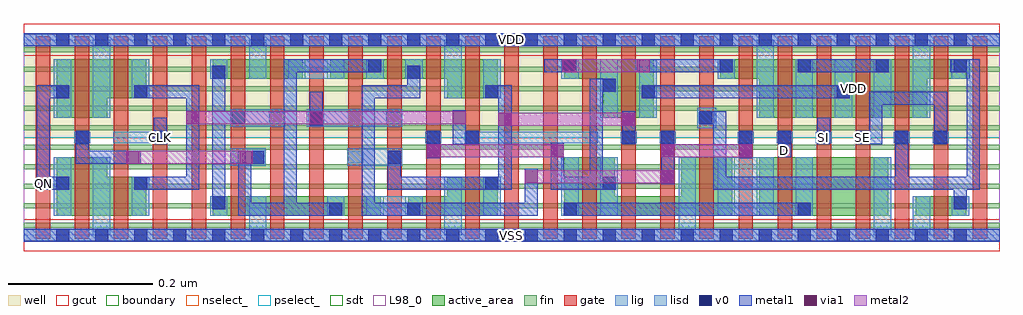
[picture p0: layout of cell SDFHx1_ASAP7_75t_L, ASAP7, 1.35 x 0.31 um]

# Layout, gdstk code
import gdstk
lib = gdstk.Library(unit=1e-6, precision=2.5e-10)
def R(c, l, rs):  # rectangles x0, y0, x1, y1
    for r in rs: c.add(gdstk.rectangle(r[:2], r[2:], *l))
def A(c, l, x, y, w, h, nx, ny, dx, dy):  # array of equal rectangles
    R(c, l, [(x+i*dx, y+j*dy, x+i*dx+w, y+j*dy+h) for i in range(nx) for j in range(ny)])
def P(c, l, *ps):  # polygons
    for p in ps: c.add(gdstk.Polygon(p, *l))
well = (1, 0)
fin = (2, 0)
gate = (7, 0)
gcut = (10, 0)
active_area = (11, 0)
nselect_ = (12, 0)
pselect_ = (13, 0)
lig = (16, 0)
lisd = (17, 0)
v0 = (18, 0)
metal1 = (19, 0)
metal2 = (20, 0)
via1 = (21, 0)
sdt = (88, 0)
L98_0 = (98, 0)
boundary = (100, 0)

sdfhx1_asap7_75t_l = lib.new_cell('SDFHx1_ASAP7_75t_L')
R(sdfhx1_asap7_75t_l, well, [(0,0.135,1.35,0.27)])
A(sdfhx1_asap7_75t_l, fin, 0, 0.01, 1.35, 0.007, 1, 10, 0, 0.027)
A(sdfhx1_asap7_75t_l, gate, 0.017, -0.005, 0.02, 0.28, 25, 1, 0.054, 0)
R(sdfhx1_asap7_75t_l, gcut, [(0,-0.022,1.35,0.022), (0,0.248,1.35,0.292)])
R(sdfhx1_asap7_75t_l, active_area, [(0.262,0.027,0.494,0.054), (1.018,0.027,1.196,0.108), (1.234,0.027,1.304,0.054), (0.262,0.216,0.386,0.243)])
P(sdfhx1_asap7_75t_l, active_area, [(0.656,0.081),(0.586,0.081),(0.586,0.054),(0.532,0.054),(0.532,0.027),(0.656,0.027)],
  [(0.17,0.081),(0.116,0.081),(0.116,0.108),(0.046,0.108),(0.046,0.027),(0.17,0.027)],
  [(0.818,0.108),(0.748,0.108),(0.748,0.027),(0.98,0.027),(0.98,0.108),(0.91,0.108),(0.91,0.054),(0.818,0.054)],
  [(0.424,0.216),(0.586,0.216),(0.586,0.189),(0.656,0.189),(0.656,0.243),(0.424,0.243)],
  [(0.748,0.216),(0.802,0.216),(0.802,0.162),(0.872,0.162),(0.872,0.243),(0.748,0.243)],
  [(0.964,0.216),(1.018,0.216),(1.018,0.162),(1.25,0.162),(1.25,0.216),(1.304,0.216),(1.304,0.243),(0.964,0.243)],
  [(0.046,0.162),(0.116,0.162),(0.116,0.189),(0.17,0.189),(0.17,0.243),(0.046,0.243)])
R(sdfhx1_asap7_75t_l, nselect_, [(0,0,1.35,0.135)])
R(sdfhx1_asap7_75t_l, pselect_, [(0,0.135,1.35,0.27)])
A(sdfhx1_asap7_75t_l, lig, 0.988, 0.127, 0.022, 0.016, 6, 1, 0.054, 0)
R(sdfhx1_asap7_75t_l, lig, [(0,-0.008,1.35,0.008), (0.286,0.1,0.308,0.116), (0.448,0.1,0.47,0.116), (0.07,0.127,0.092,0.143), (0.124,0.127,0.2,0.143), (0.556,0.127,0.578,0.143), (0.61,0.127,0.794,0.143), (0.826,0.127,0.848,0.143), (0.88,0.127,0.902,0.143), (0.34,0.154,0.362,0.17), (0.394,0.154,0.416,0.17), (0.502,0.154,0.524,0.17), (0.934,0.154,0.956,0.17), (0,0.262,1.35,0.278)])
A(sdfhx1_asap7_75t_l, lisd, 1.068, 0.162, 0.024, 0.081, 3, 1, 0.054, 0)
A(sdfhx1_asap7_75t_l, lisd, 0.528, 0.216, 0.024, 0.027, 3, 1, 0.216, 0)
R(sdfhx1_asap7_75t_l, lisd, [(0.096,0,0.12,0.108), (0.312,0,0.336,0.054), (0.582,0,0.606,0.081), (0.906,0,0.93,0.108), (1.176,0,1.2,0.108), (1.23,0,1.254,0.054), (0.042,0.027,0.066,0.108), (0.15,0.027,0.174,0.081), (0.258,0.027,0.282,0.054), (0.42,0.027,0.444,0.054), (0.474,0.027,0.552,0.054), (0.636,0.027,0.66,0.081), (0.744,0.027,0.768,0.108), (0.798,0.027,0.822,0.108), (0.96,0.027,1.038,0.108), (1.068,0.027,1.092,0.108), (1.284,0.027,1.308,0.054), (0.286,0.096,0.335,0.12), (0.448,0.096,0.524,0.12), (0.932,0.148,0.958,0.176), (0.286,0.15,0.362,0.174), (0.392,0.15,0.524,0.174), (0.042,0.162,0.066,0.243), (0.096,0.162,0.12,0.27), (0.798,0.162,0.822,0.243), (0.852,0.162,0.876,0.243), (1.014,0.162,1.038,0.27), (1.23,0.162,1.254,0.27), (0.15,0.189,0.174,0.243), (0.582,0.189,0.606,0.27), (0.636,0.189,0.66,0.243), (0.258,0.216,0.282,0.243), (0.312,0.216,0.336,0.27), (0.366,0.216,0.444,0.243), (0.474,0.216,0.498,0.243), (1.283,0.216,1.309,0.243)])
A(sdfhx1_asap7_75t_l, v0, 0.045, -0.009, 0.018, 0.018, 24, 2, 0.054, 0.27)
A(sdfhx1_asap7_75t_l, v0, 0.99, 0.126, 0.018, 0.018, 6, 1, 0.054, 0)
A(sdfhx1_asap7_75t_l, v0, 0.963, 0.225, 0.018, 0.018, 4, 1, 0.108, 0)
R(sdfhx1_asap7_75t_l, v0, [(0.423,0.027,0.441,0.045), (0.531,0.027,0.549,0.045), (0.747,0.027,0.765,0.045), (1.071,0.027,1.089,0.045), (0.261,0.036,0.279,0.054), (1.287,0.036,1.305,0.054), (0.045,0.063,0.063,0.081), (0.153,0.063,0.171,0.081), (0.639,0.063,0.657,0.081), (0.801,0.063,0.819,0.081), (0.315,0.099,0.333,0.117), (0.504,0.099,0.522,0.117), (0.072,0.126,0.09,0.144), (0.18,0.126,0.198,0.144), (0.558,0.126,0.576,0.144), (0.612,0.126,0.63,0.144), (0.828,0.126,0.846,0.144), (0.882,0.126,0.9,0.144), (0.396,0.151,0.414,0.169), (0.288,0.153,0.306,0.171), (0.935,0.153,0.953,0.171), (0.045,0.189,0.063,0.207), (0.153,0.189,0.171,0.207), (0.639,0.189,0.657,0.207), (0.855,0.189,0.873,0.207), (1.125,0.189,1.143,0.207), (0.801,0.198,0.819,0.216), (0.261,0.216,0.279,0.234), (0.531,0.216,0.549,0.234), (0.477,0.225,0.495,0.243), (0.747,0.225,0.765,0.243)])
R(sdfhx1_asap7_75t_l, metal1, [(0,-0.009,1.35,0.009), (0.747,0.027,1.089,0.045), (0.882,0.07,0.9,0.144), (0.558,0.106,0.576,0.144), (0.99,0.106,1.008,0.144), (1.044,0.108,1.062,0.144), (0.18,0.126,0.198,0.162), (0.828,0.126,0.846,0.171), (1.098,0.126,1.116,0.162), (0.396,0.151,0.414,0.198), (0.855,0.189,1.143,0.207), (0.72,0.225,0.765,0.243), (0.846,0.225,0.981,0.243), (1.071,0.225,1.197,0.243), (0,0.261,1.35,0.279)])
P(sdfhx1_asap7_75t_l, metal1, [(0.162,0.117),(0.09,0.117),(0.09,0.144),(0.072,0.144),(0.072,0.099),(0.162,0.099)],
  [(0.63,0.144),(0.612,0.144),(0.612,0.173),(0.594,0.173),(0.594,0.126),(0.63,0.126)],
  [(1.188,0.18),(1.26,0.18),(1.26,0.126),(1.278,0.126),(1.278,0.198),(1.17,0.198),(1.17,0.144),(1.152,0.144),(1.152,0.126),(1.188,0.126)],
  [(0.675,0.207),(0.639,0.207),(0.639,0.189),(0.657,0.189),(0.657,0.081),(0.522,0.081),(0.522,0.117),(0.504,0.117),(0.504,0.063),(0.675,0.063)],
  [(0.063,0.081),(0.036,0.081),(0.036,0.189),(0.063,0.189),(0.063,0.207),(0.018,0.207),(0.018,0.063),(0.063,0.063)],
  [(0.243,0.207),(0.153,0.207),(0.153,0.189),(0.225,0.189),(0.225,0.081),(0.153,0.081),(0.153,0.063),(0.243,0.063)],
  [(0.441,0.045),(0.378,0.045),(0.378,0.225),(0.495,0.225),(0.495,0.243),(0.36,0.243),(0.36,0.045),(0.315,0.045),(0.315,0.099),(0.333,0.099),(0.333,0.117),(0.297,0.117),(0.297,0.027),(0.441,0.027)],
  [(0.819,0.081),(0.801,0.081),(0.801,0.198),(0.819,0.198),(0.819,0.216),(0.783,0.216),(0.783,0.081),(0.747,0.081),(0.747,0.128),(0.729,0.128),(0.729,0.063),(0.819,0.063)],
  [(0.279,0.153),(0.306,0.153),(0.306,0.171),(0.279,0.171),(0.279,0.234),(0.261,0.234),(0.261,0.036),(0.279,0.036)],
  [(1.282,0.243),(1.282,0.225),(1.305,0.225),(1.305,0.081),(1.224,0.081),(1.224,0.144),(1.206,0.144),(1.206,0.081),(0.972,0.081),(0.972,0.171),(0.935,0.171),(0.935,0.153),(0.954,0.153),(0.954,0.063),(1.287,0.063),(1.287,0.036),(1.305,0.036),(1.305,0.063),(1.323,0.063),(1.323,0.243)],
  [(0.711,0.092),(0.693,0.092),(0.693,0.045),(0.486,0.045),(0.486,0.189),(0.549,0.189),(0.549,0.234),(0.531,0.234),(0.531,0.207),(0.468,0.207),(0.468,0.027),(0.711,0.027)])
R(sdfhx1_asap7_75t_l, metal2, [(0.693,0.072,0.9,0.09), (0.142,0.099,0.317,0.117), (0.558,0.108,0.747,0.126), (0.882,0.108,1.008,0.126), (0.657,0.151,0.846,0.169), (0.225,0.153,0.612,0.171), (0.745,0.225,0.866,0.243)])
R(sdfhx1_asap7_75t_l, via1, [(0.693,0.072,0.711,0.09), (0.882,0.072,0.9,0.09), (0.142,0.099,0.16,0.117), (0.299,0.099,0.317,0.117), (0.558,0.108,0.576,0.126), (0.729,0.108,0.747,0.126), (0.882,0.108,0.9,0.126), (0.99,0.108,1.008,0.126), (0.657,0.151,0.675,0.169), (0.828,0.151,0.846,0.169), (0.225,0.153,0.243,0.171), (0.396,0.153,0.414,0.171), (0.594,0.153,0.612,0.171), (0.745,0.225,0.763,0.243), (0.848,0.225,0.866,0.243)])
A(sdfhx1_asap7_75t_l, sdt, 0.42, 0.027, 0.024, 0.027, 3, 1, 0.054, 0)
A(sdfhx1_asap7_75t_l, sdt, 0.906, 0.027, 0.024, 0.081, 4, 1, 0.054, 0)
A(sdfhx1_asap7_75t_l, sdt, 1.014, 0.162, 0.024, 0.081, 5, 1, 0.054, 0)
A(sdfhx1_asap7_75t_l, sdt, 0.258, 0.216, 0.024, 0.027, 6, 1, 0.054, 0)
R(sdfhx1_asap7_75t_l, sdt, [(0.042,0.027,0.066,0.108), (0.096,0.027,0.12,0.108), (0.15,0.027,0.174,0.081), (0.258,0.027,0.282,0.054), (0.312,0.027,0.336,0.054), (0.582,0.027,0.606,0.081), (0.636,0.027,0.66,0.081), (0.744,0.027,0.768,0.108), (0.798,0.027,0.822,0.108), (1.176,0.027,1.2,0.108), (1.23,0.027,1.254,0.054), (1.284,0.027,1.308,0.054), (0.042,0.162,0.066,0.243), (0.096,0.162,0.12,0.243), (0.798,0.162,0.822,0.243), (0.852,0.162,0.876,0.243), (0.15,0.189,0.174,0.243), (0.582,0.189,0.606,0.243), (0.636,0.189,0.66,0.243), (0.744,0.216,0.768,0.243), (0.96,0.216,0.984,0.243), (1.284,0.216,1.308,0.243)])
R(sdfhx1_asap7_75t_l, L98_0, [(0,0,1.35,0.27)])
R(sdfhx1_asap7_75t_l, boundary, [(0,0,1.35,0.27)])
sdfhx1_asap7_75t_l.add(gdstk.Label('SI', (1.107,0.135), layer=19, texttype=251))
sdfhx1_asap7_75t_l.add(gdstk.Label('SE', (1.161,0.135), layer=19, texttype=251))
sdfhx1_asap7_75t_l.add(gdstk.Label('QN', (0.027,0.072), layer=19, texttype=251))
sdfhx1_asap7_75t_l.add(gdstk.Label('D', (1.053,0.117), layer=19, texttype=251))
sdfhx1_asap7_75t_l.add(gdstk.Label('CLK', (0.189,0.135), layer=19, texttype=251))
sdfhx1_asap7_75t_l.add(gdstk.Label('VSS', (0.675,0), layer=19, texttype=251))
sdfhx1_asap7_75t_l.add(gdstk.Label('VDD', (0.675,0.27), layer=19, texttype=251))
sdfhx1_asap7_75t_l.add(gdstk.Label('VDD', (1.1475,0.2025), layer=1, texttype=251))
sdfhx1_asap7_75t_l.add(gdstk.Label('VSS', (1.5525,0.2025), layer=3, texttype=251))

lib.write_gds('SDFHx1_ASAP7_75t_L.gds')
